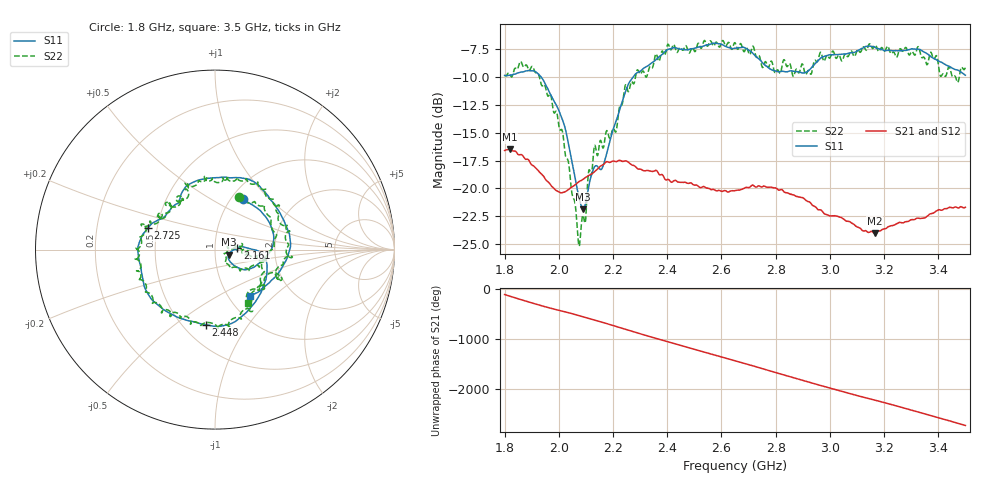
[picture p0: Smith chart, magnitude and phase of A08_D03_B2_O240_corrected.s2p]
! Created with skrf 1.9.0 (http://scikit-rf.org).
# Hz S RI R 50.0
!freq ReS11 ImS11 ReS21 ImS21 ReS12 ImS12 ReS22 ImS22
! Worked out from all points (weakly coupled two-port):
!   1601 points, 1.8 GHz to 3.5 GHz, reference 50 ohm
!   highest |S21| = -16.48 dB at 1.818 GHz (marker M1); lowest = -24.0 dB at 3.165 GHz (marker M2)
!   lowest |S11| = -21.9 dB at 2.09 GHz (marker M3), VSWR 1.18, Z = 58.1 - j3.28 ohm
!   |S11| at or under -10 dB: 1.935 GHz to 2.274 GHz (338.9 MHz wide, 16.1 % of centre)
!   |S22| runs from -25.2 to -6.7 dB; largest |S21 - S12| = 0.0026
!   S11 on the Smith chart (normalised r, x): 1.8 GHz: 1.13, +0.71; 2.161 GHz: 1.28, +0.02; 2.448 GHz: 0.64, -0.65; 2.725 GHz: 0.44, +0.12; 3.5 GHz: 1.26, -0.72
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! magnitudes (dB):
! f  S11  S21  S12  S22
! 1.8 GHz  -9.8  -16.6  -16.6  -9.8
! 1.818 GHz  -9.9  -16.5  -16.5  -9.7
! 1.903 GHz  -9.4  -17.9  -17.9  -9.1
! 1.968 GHz  -11.5  -19.6  -19.7  -11.5
! 2.015 GHz  -13.9  -20.4  -20.4  -15.0
! 2.072 GHz  -20.5  -19.4  -19.5  -24.8
! 2.084 GHz  -21.6  -19.3  -19.2  -23.1
! 2.09 GHz  -21.9  -19.2  -19.2  -22.4
! 2.13 GHz  -18.1  -18.5  -18.5  -16.3
! 2.161 GHz  -18.1  -17.9  -17.8  -16.3
! 2.209 GHz  -14.1  -17.6  -17.5  -14.9
! 2.258 GHz  -10.6  -17.7  -17.7  -11.3
! 2.367 GHz  -8.2  -18.6  -18.6  -8.5
! 2.448 GHz  -7.5  -19.5  -19.5  -7.3
! 2.65 GHz  -7.4  -20.2  -20.2  -6.9
! 2.725 GHz  -8.1  -19.9  -19.9  -8.0
! 2.934 GHz  -9.1  -21.5  -21.4  -9.5
! 3.165 GHz  -7.3  -24.0  -24.0  -7.2
! 3.217 GHz  -7.6  -23.4  -23.4  -7.4
! 3.376 GHz  -8.2  -22.2  -22.3  -7.9
! 3.468 GHz  -9.3  -21.7  -21.7  -10.3
! 3.5 GHz  -9.8  -21.7  -21.7  -9.1
